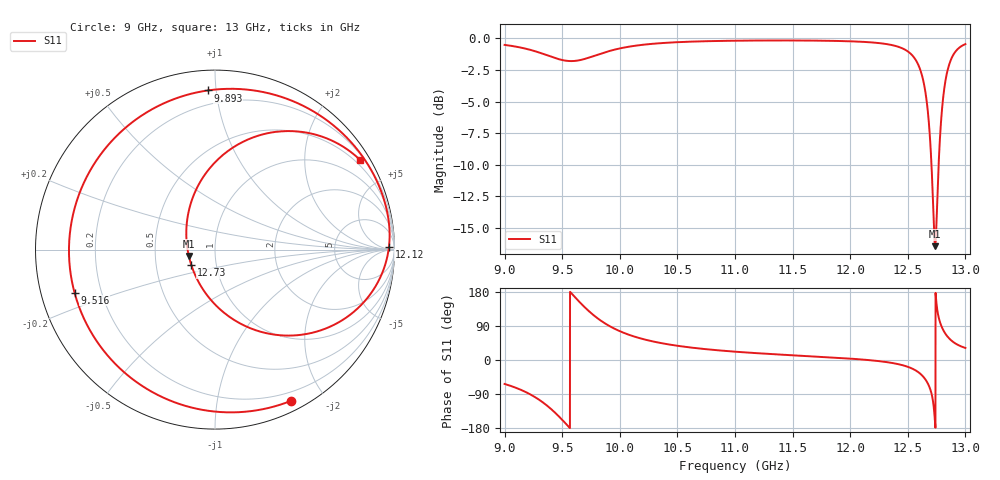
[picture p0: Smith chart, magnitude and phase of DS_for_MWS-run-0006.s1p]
! TOUCHSTONE file generated by CST DESIGN STUDIO
! Date and time: Tue Feb  4 18:00:55 2025
! Project name: C:\Work\MatlabApps\UnitCellOptimizationMatlab\CST\unitcell.cst
! Tree item: Tasks\Sweep1\SPara1\S-Parameters
! Header version: 2024
! Port assignment regex: !\s*Touchstone port\s*([0-9]+)\s*=\s*(CST MWS port|CST DES external port|CST DES block port)\s*(.+)\s* \(\"(.*)\"\)(\s*mode\s*([0-9]+))?.*
! Touchstone port assignment:
! Touchstone port 1 = CST DES external port 1 ("")
# GHz S MA R 50
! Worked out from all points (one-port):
!   4001 points, 9 GHz to 13 GHz, reference 50 ohm
!   lowest |S11| = -16.5 dB at 12.74 GHz (marker M1), VSWR 1.35, Z = 37.2 - j2.68 ohm
!   |S11| at or under -10 dB: 12.70554 GHz to 12.76765 GHz (62.11 MHz wide, 0.488 % of centre)
!   S11 on the Smith chart (normalised r, x): 9 GHz: 0.11, -1.62; 9.516 GHz: 0.10, -0.15; 9.893 GHz: 0.11, +0.95; 12.12 GHz: 50, +26; 12.73 GHz: 0.76, -0.14; 13 GHz: 0.34, +3.48
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9  0.9431 -63.2
9.147  0.9189 -79.5
9.297  0.8806 -104.4
9.399  0.8484 -128.2
9.5  0.8213 -157.9
9.516  0.8185 -163.0
9.611  0.8149 165.7
9.718  0.8357 132.7
9.801  0.8606 111.4
9.893  0.8876 92.6
10  0.9132 76.1
10.217  0.9461 54.0
10.5  0.9667 37.6
11  0.9798 22.0
11.5  0.9819 12.5
12  0.9745 3.6
12.117  0.9694 0.9
12.5  0.8886 -18.0
12.59  0.7884 -31.8
12.658  0.5913 -53.6
12.696  0.3812 -78.1
12.732  0.158 -146.4
12.737  0.1502 -166.4
12.751  0.1976 143.8
12.786  0.4514 94.1
12.828  0.6848 68.6
12.904  0.8746 45.4
13  0.9499 31.8
